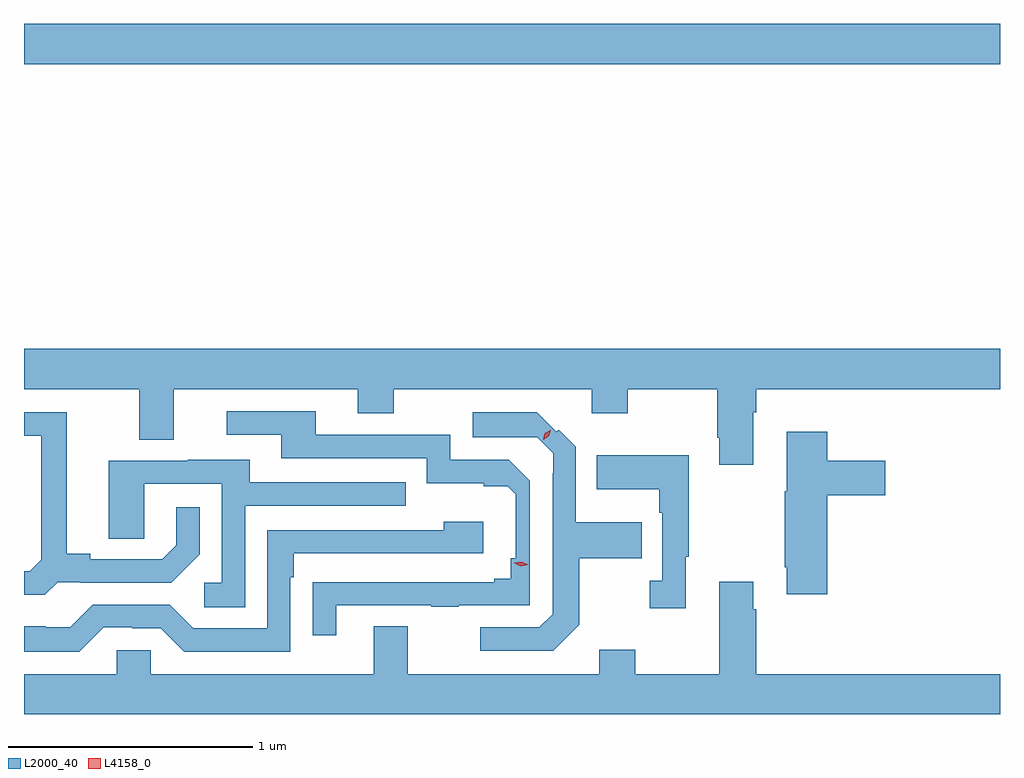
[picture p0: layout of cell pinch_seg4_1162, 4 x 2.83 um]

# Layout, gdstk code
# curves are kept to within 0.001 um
import gdstk
lib = gdstk.Library(unit=1e-6, precision=1e-09)
def R(c, l, rs):  # rectangles x0, y0, x1, y1
    for r in rs: c.add(gdstk.rectangle(r[:2], r[2:], *l))
def P(c, l, *ps):  # polygons
    for p in ps: c.add(gdstk.Polygon(p, *l))
L2000_40 = (2000, 40)
L4158_0 = (4158, 0)

pinch_seg4_1162 = lib.new_cell('pinch_seg4_1162')
R(pinch_seg4_1162, L2000_40, [(504.972,754.196,508.972,754.36)])
P(pinch_seg4_1162, L2000_40, [(507.961,752.768),(507.974,752.768),(507.974,752.864),(508.972,752.864),(508.972,753.028),(504.972,753.028),(504.972,752.864),(505.445,752.864),(505.445,752.656),(505.585,752.656),(505.585,752.864),(506.339,752.864),(506.339,752.765),(506.487,752.765),(506.487,752.864),(507.299,752.864),(507.299,752.765),(507.447,752.765),(507.447,752.864),(507.814,752.864),(507.814,752.665),(507.821,752.665),(507.821,752.553),(507.961,752.553)],
  [(506.251,751.977),(506.641,751.977),(506.641,751.972),(506.753,751.972),(506.753,751.977),(507.045,751.977),(507.045,752.487),(506.958,752.574),(506.718,752.574),(506.718,752.676),(506.167,752.676),(506.167,752.772),(505.803,752.772),(505.803,752.676),(506.027,752.676),(506.027,752.58),(506.622,752.58),(506.622,752.477),(506.857,752.477),(506.857,752.465),(506.954,752.465),(506.987,752.432),(506.987,752.17),(506.966,752.17),(506.966,752.086),(506.899,752.086),(506.899,752.073),(506.155,752.072),(506.155,751.854),(506.251,751.854)],
  [(505.11,752.073),(505.204,752.073),(505.204,752.07),(505.576,752.07),(505.692,752.186),(505.692,752.38),(505.595,752.38),(505.595,752.223),(505.538,752.166),(505.243,752.166),(505.243,752.189),(505.147,752.189),(505.147,752.769),(504.972,752.769),(504.972,752.673),(505.043,752.673),(505.043,752.165),(504.996,752.118),(504.972,752.118),(504.972,752.021),(505.058,752.021)],
  [(507.247,751.897),(507.247,752.17),(507.503,752.17),(507.503,752.317),(507.234,752.317),(507.234,752.627),(507.163,752.698),(507.154,752.689),(507.074,752.769),(506.811,752.769),(506.811,752.667),(507.075,752.667),(507.141,752.601),(507.141,752.519),(507.138,752.519),(507.138,751.941),(507.084,751.887),(506.841,751.887),(506.841,751.791),(507.141,751.791)],
  [(508.265,752.429),(508.501,752.429),(508.501,752.571),(508.265,752.571),(508.265,752.689),(508.097,752.689),(508.097,752.445),(508.09,752.445),(508.09,752.134),(508.097,752.134),(508.097,752.022),(508.265,752.022)],
  [(507.685,752.177),(507.697,752.177),(507.697,752.593),(507.319,752.593),(507.319,752.453),(507.576,752.453),(507.576,752.357),(507.588,752.357),(507.588,752.078),(507.537,752.078),(507.537,751.965),(507.685,751.965)],
  [(505.878,752.385),(506.537,752.385),(506.537,752.481),(505.897,752.481),(505.897,752.575),(505.643,752.575),(505.643,752.571),(505.319,752.571),(505.319,752.251),(505.464,752.251),(505.464,752.475),(505.782,752.475),(505.782,752.07),(505.71,752.07),(505.71,751.969),(505.878,751.969)],
  [(505.299,751.887),(505.415,751.887),(505.415,751.884),(505.533,751.884),(505.629,751.788),(506.064,751.788),(506.064,752.093),(506.077,752.093),(506.077,752.19),(506.854,752.19),(506.854,752.32),(506.693,752.32),(506.693,752.286),(505.968,752.286),(505.968,751.884),(505.665,751.884),(505.569,751.98),(505.254,751.98),(505.161,751.887),(505.061,751.887),(505.061,751.891),(504.972,751.891),(504.972,751.787),(505.199,751.787)],
  [(508.972,751.696),(507.974,751.696),(507.974,751.961),(507.961,751.961),(507.961,752.074),(507.821,752.074),(507.821,751.696),(507.477,751.696),(507.477,751.795),(507.329,751.795),(507.329,751.696),(506.545,751.696),(506.545,751.891),(506.405,751.891),(506.405,751.696),(505.491,751.696),(505.491,751.794),(505.353,751.794),(505.353,751.696),(504.972,751.696),(504.972,751.532),(508.972,751.532)])
P(pinch_seg4_1162, L4158_0, [(507.1,752.657),(507.1,752.658),(507.107,752.683),(507.129,752.696),(507.13,752.696),(507.13,752.696),(507.123,752.671),(507.1,752.657)],
  [(507.008,752.137),(506.98,752.151),(506.98,752.151),(506.98,752.151),(507.011,752.157),(507.039,752.144),(507.039,752.144),(507.039,752.143)])

lib.write_gds('pinch_seg4_1162.gds')
